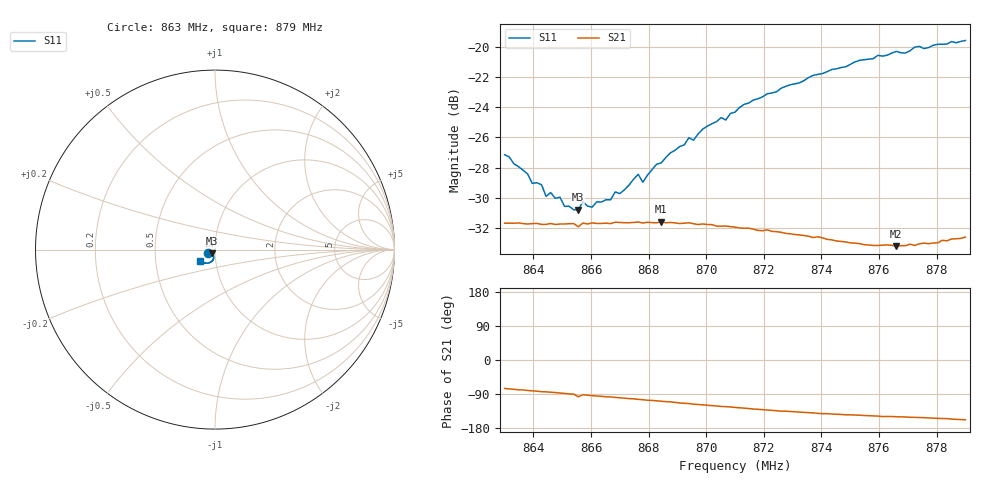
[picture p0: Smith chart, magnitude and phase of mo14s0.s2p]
# HZ S RI R 50
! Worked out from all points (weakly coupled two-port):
!   101 points, 863 MHz to 879 MHz, reference 50 ohm
!   highest |S21| = -31.55 dB at 868.44 MHz (marker M1); lowest = -33.2 dB at 876.6 MHz (marker M2)
!   lowest |S11| = -30.8 dB at 865.56 MHz (marker M3), VSWR 1.06, Z = 48.1 - j2.07 ohm
!   |S11| at or under -10 dB: start of sweep to end of sweep
!   S12 and S22 are empty: the file has one direction only
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8.63e8  -0.0399 -0.0184  0.00673 -0.0252  0 0  0 0
8.6396e8  -0.0307 -0.0175  0.00389 -0.0258  0 0  0 0
8.6428e8  -0.0288 -0.0199  0.00287 -0.0257  0 0  0 0
8.6444e8  -0.0262 -0.0185  0.00268 -0.0257  0 0  0 0
8.646e8  -0.0269 -0.0191  0.00227 -0.026  0 0  0 0
8.6492e8  -0.0244 -0.0204  0.00131 -0.0259  0 0  0 0
8.6508e8  -0.0214 -0.0206  0.000848 -0.026  0 0  0 0
8.6556e8  -0.0194 -0.0215  -0.0031 -0.0252  0 0  0 0
8.6572e8  -0.0198 -0.0236  -0.000784 -0.0261  0 0  0 0
8.6604e8  -0.015 -0.0254  -0.00184 -0.0261  0 0  0 0
8.6668e8  -0.0131 -0.0283  -0.00335 -0.0258  0 0  0 0
8.6764e8  -0.00957 -0.0366  -0.0063 -0.0256  0 0  0 0
8.678e8  -0.0089 -0.0345  -0.00672 -0.0253  0 0  0 0
8.6844e8  -0.00727 -0.0407  -0.00855 -0.025  0 0  0 0
8.694e8  -0.00837 -0.0493  -0.011 -0.0238  0 0  0 0
8.6956e8  -0.00852 -0.0483  -0.0117 -0.0233  0 0  0 0
8.6988e8  -0.00873 -0.0527  -0.0123 -0.0229  0 0  0 0
8.71e8  -0.0132 -0.0593  -0.0146 -0.0208  0 0  0 0
8.7372e8  -0.0316 -0.0739  -0.0178 -0.0152  0 0  0 0
8.7644e8  -0.0586 -0.075  -0.019 -0.0113  0 0  0 0
8.766e8  -0.0619 -0.0739  -0.019 -0.0111  0 0  0 0
8.79e8  -0.0839 -0.0627  -0.0217 -0.00893  0 0  0 0
